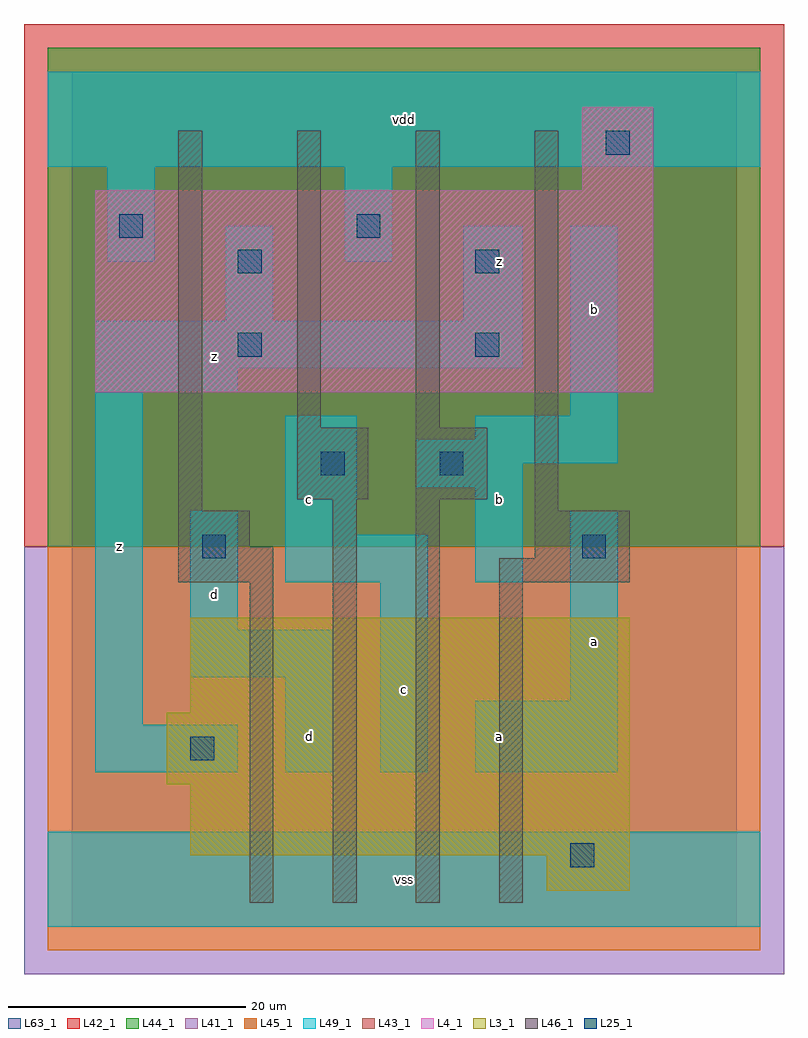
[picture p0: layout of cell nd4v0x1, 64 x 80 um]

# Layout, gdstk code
import gdstk
lib = gdstk.Library(unit=1e-6, precision=1e-09)
def R(c, l, rs):  # rectangles x0, y0, x1, y1
    for r in rs: c.add(gdstk.rectangle(r[:2], r[2:], *l))
L3_1 = (3, 1)
L4_1 = (4, 1)
L25_1 = (25, 1)
L41_1 = (41, 1)
L42_1 = (42, 1)
L43_1 = (43, 1)
L44_1 = (44, 1)
L45_1 = (45, 1)
L46_1 = (46, 1)
L49_1 = (49, 1)
L63_1 = (63, 1)

nd4v0x1 = lib.new_cell('nd4v0x1')
R(nd4v0x1, L3_1, [(40,3,47,6), (10,6,47,12), (8,12,47,18), (10,18,47,26)])
R(nd4v0x1, L4_1, [(2,45,49,62), (43,62,49,69)])
R(nd4v0x1, L25_1, [(42,5,44,7), (10,14,12,16), (11,31,13,33), (43,31,45,33), (21,38,23,40), (31,38,33,40), (14,48,16,50), (34,48,36,50), (14,55,16,57), (34,55,36,57), (4,58,6,60), (24,58,26,60), (45,65,47,67)])
R(nd4v0x1, L41_1, [(-4,-4,60,32)])
R(nd4v0x1, L42_1, [(-4,32,60,76)])
R(nd4v0x1, L43_1, [(40,3,47,6), (10,6,47,12), (8,12,47,18), (10,18,47,26), (2,45,49,62), (43,62,49,69)])
R(nd4v0x1, L44_1, [(-2,32,58,74)])
R(nd4v0x1, L45_1, [(-2,-2,58,32)])
R(nd4v0x1, L46_1, [(15,2,17,29), (22,2,24,36), (29,2,31,36), (36,2,38,29), (9,29,17,32), (36,29,47,31), (39,31,47,35), (9,32,15,35), (9,35,11,67), (39,35,41,67), (19,36,25,42), (29,36,35,42), (19,42,21,67), (29,42,31,67)])
R(nd4v0x1, L49_1, [(-2,0,58,8), (2,13,14,17), (18,13,22,21), (26,13,30,29), (34,13,46,19), (2,17,6,45), (42,19,46,35), (10,21,22,25), (10,25,14,35), (18,29,30,33), (34,29,38,37), (18,33,24,43), (29,37,38,39), (29,39,46,41), (34,41,46,43), (42,43,46,59), (2,45,14,47), (2,47,38,51), (13,51,17,59), (33,51,38,59), (3,56,7,64), (23,56,27,64), (-2,64,58,72)])
R(nd4v0x1, L63_1, [(0,0,56,72)])
nd4v0x1.add(gdstk.Label('z', (4,32), layer=49, texttype=1))
nd4v0x1.add(gdstk.Label('d', (20,16), layer=49, texttype=1))
nd4v0x1.add(gdstk.Label('d', (12,28), layer=49, texttype=1))
nd4v0x1.add(gdstk.Label('c', (20,36), layer=49, texttype=1))
nd4v0x1.add(gdstk.Label('z', (12,48), layer=49, texttype=1))
nd4v0x1.add(gdstk.Label('vss', (28,4), layer=49, texttype=1))
nd4v0x1.add(gdstk.Label('a', (36,16), layer=49, texttype=1))
nd4v0x1.add(gdstk.Label('c', (28,20), layer=49, texttype=1))
nd4v0x1.add(gdstk.Label('b', (36,36), layer=49, texttype=1))
nd4v0x1.add(gdstk.Label('z', (36,56), layer=49, texttype=1))
nd4v0x1.add(gdstk.Label('vdd', (28,68), layer=49, texttype=1))
nd4v0x1.add(gdstk.Label('a', (44,24), layer=49, texttype=1))
nd4v0x1.add(gdstk.Label('b', (44,52), layer=49, texttype=1))

lib.write_gds('nd4v0x1.gds')
